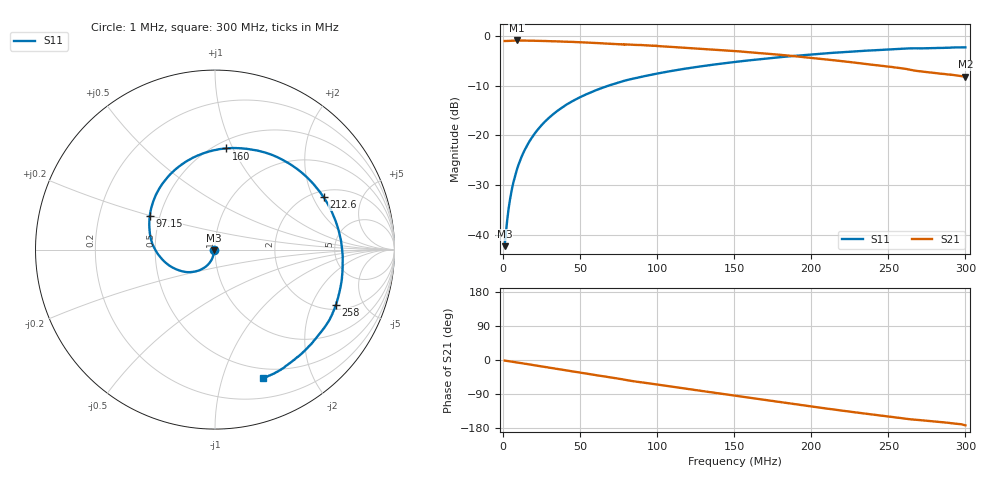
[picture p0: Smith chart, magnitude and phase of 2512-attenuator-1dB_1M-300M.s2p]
# HZ S RI R 50
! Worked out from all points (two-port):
!   3030 points, 1 MHz to 300 MHz, reference 50 ohm
!   highest |S21| = -0.94 dB at 8.996 MHz (marker M1); lowest = -8.2 dB at 300 MHz (marker M2)
!   |S21| within 3 dB of the highest: start of sweep to 183.5 MHz
!   lowest |S11| = -42.3 dB at 1 MHz (marker M3), VSWR 1.02, Z = 49.4 - j0.444 ohm
!   |S11| at or under -10 dB: start of sweep to 68.66 MHz
!   S12 and S22 are empty: the file has one direction only
!   S11 on the Smith chart (normalised r, x): 1 MHz: 0.99, -0.01; 97.15 MHz: 0.44, +0.20; 160 MHz: 0.57, +0.94; 212.6 MHz: 2.27, +2.42; 258 MHz: 2.25, -3.06; 300 MHz: 0.39, -1.36
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1000000  -0.00624 -0.0045  0.8861 -0.0221  0 0  0 0
4948480  -0.00749 -0.0238  0.8884 -0.059  0 0  0 0
6824008  -0.00951 -0.0329  0.8902 -0.0764  0 0  0 0
8995672  -0.0129 -0.0435  0.8925 -0.0971  0 0  0 0
1.551066e7  -0.0297 -0.073  0.8783 -0.1648  0 0  0 0
2.449346e7  -0.0661 -0.105  0.8507 -0.2545  0 0  0 0
3.693117e7  -0.1347 -0.1254  0.7951 -0.369  0 0  0 0
5.084956e7  -0.2201 -0.1082  0.7132 -0.4807  0 0  0 0
7.700824e7  -0.3464 0.0257  0.5192 -0.6348  0 0  0 0
9.714549e7  -0.3636 0.1879  0.3603 -0.7087  0 0  0 0
1.006991e8  -0.3583 0.2171  0.3314 -0.7154  0 0  0 0
1.246861e8  -0.26 0.4079  0.1401 -0.7342  0 0  0 0
1.505487e8  -0.0403 0.5443  -0.0532 -0.7001  0 0  0 0
1.60025e8  0.0618 0.5639  -0.1164 -0.6729  0 0  0 0
1.807546e8  0.2955 0.5354  -0.2369 -0.5967  0 0  0 0
2.003982e8  0.5021 0.4123  -0.3243 -0.5039  0 0  0 0
2.126385e8  0.605 0.2925  -0.3642 -0.4408  0 0  0 0
2.313938e8  0.7001 0.0593  -0.4033 -0.343  0 0  0 0
2.502478e8  0.7011 -0.1993  -0.4208 -0.2506  0 0  0 0
2.58046e8  0.6734 -0.307  -0.4217 -0.213  0 0  0 0
2.793678e8  0.504 -0.5591  -0.4038 -0.131  0 0  0 0
2.999986e8  0.2638 -0.7187  -0.3848 -0.0512  0 0  0 0
